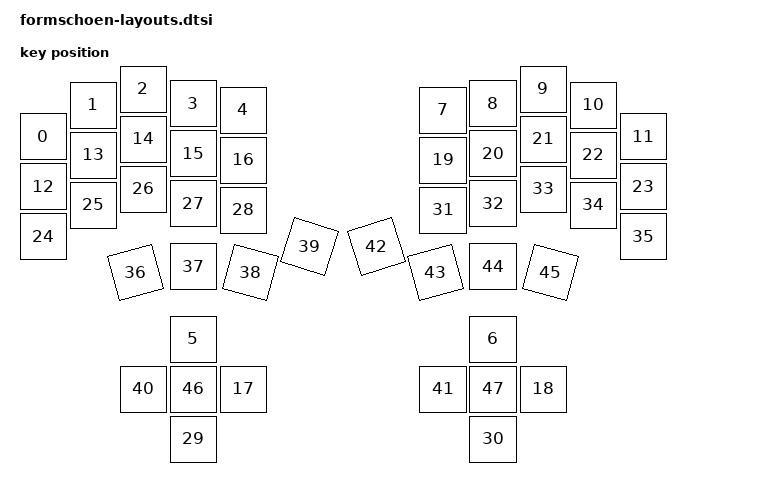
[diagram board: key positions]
#include <physical_layouts.dtsi>

/ {
    formschoen_physical_layout: formschoen_physical_layout {
        compatible = "zmk,physical-layout";
        display-name = "Formschoen";
        kscan = <&kscan0>;
        transform = <&default_transform>;

        // https://zmk-physical-layout-converter.streamlit.app/?layout=H4sIAAAAAAACA5VTQY7CMAy884qo5xLF04bGe-YXiEMPcEJaiQVpUdW_byiljSDswKmOPfXYM3K3MKY4tJfv8-mn-DJdfMbEerdvz4fTlJgwMbMZM8Z0pviNCWddaYrLEKk3ffkIkARQIQNAAnCZepXUoRlAnQBq_NvBZxmU1AMjUDaiOLKkUJkETOmZQ5gVwqwQYoUwKySv1AxY5XVwBBAYg7IZxZEtheokYFLPHGBegHkB4gWYF2Bn0ZCzaIgVYFaAWgFmBagVL5SGlRFQ2TpGxxgtxQ-_HW86-Gv4-v5noSLUZwH6RPERQ23DtIS_NwgfNMDbZ5OvNxZPAyzTCZRNEJjMtIMymZXIrO8buSITDPWxvB2-11e_6P8AMF4OfDMHAAA%3D
        keys  //                     w   h    x    y     rot    rx    ry
            = <&key_physical_attrs 100 100    0   95       0     0     0>
            , <&key_physical_attrs 100 100  100   32       0     0     0>
            , <&key_physical_attrs 100 100  200    0       0     0     0>
            , <&key_physical_attrs 100 100  300   29       0     0     0>
            , <&key_physical_attrs 100 100  400   42       0     0     0>
            , <&key_physical_attrs 100 100  300  500       0     0     0>
            , <&key_physical_attrs 100 100  900  500       0     0     0>
            , <&key_physical_attrs 100 100  800   42       0     0     0>
            , <&key_physical_attrs 100 100  900   29       0     0     0>
            , <&key_physical_attrs 100 100 1000    0       0     0     0>
            , <&key_physical_attrs 100 100 1100   32       0     0     0>
            , <&key_physical_attrs 100 100 1200   95       0     0     0>
            , <&key_physical_attrs 100 100    0  195       0     0     0>
            , <&key_physical_attrs 100 100  100  132       0     0     0>
            , <&key_physical_attrs 100 100  200  100       0     0     0>
            , <&key_physical_attrs 100 100  300  129       0     0     0>
            , <&key_physical_attrs 100 100  400  142       0     0     0>
            , <&key_physical_attrs 100 100  400  600       0     0     0>
            , <&key_physical_attrs 100 100 1000  600       0     0     0>
            , <&key_physical_attrs 100 100  800  142       0     0     0>
            , <&key_physical_attrs 100 100  900  129       0     0     0>
            , <&key_physical_attrs 100 100 1000  100       0     0     0>
            , <&key_physical_attrs 100 100 1100  132       0     0     0>
            , <&key_physical_attrs 100 100 1200  195       0     0     0>
            , <&key_physical_attrs 100 100    0  295       0     0     0>
            , <&key_physical_attrs 100 100  100  232       0     0     0>
            , <&key_physical_attrs 100 100  200  200       0     0     0>
            , <&key_physical_attrs 100 100  300  229       0     0     0>
            , <&key_physical_attrs 100 100  400  242       0     0     0>
            , <&key_physical_attrs 100 100  300  700       0     0     0>
            , <&key_physical_attrs 100 100  900  700       0     0     0>
            , <&key_physical_attrs 100 100  800  242       0     0     0>
            , <&key_physical_attrs 100 100  900  229       0     0     0>
            , <&key_physical_attrs 100 100 1000  200       0     0     0>
            , <&key_physical_attrs 100 100 1100  232       0     0     0>
            , <&key_physical_attrs 100 100 1200  295       0     0     0>
            , <&key_physical_attrs 100 100  210  340 (-1500)   350   500>
            , <&key_physical_attrs 100 100  300  355       0     0     0>
            , <&key_physical_attrs 100 100  390  340    1500   350   500>
            , <&key_physical_attrs 100 100  480  250    1800   350   500>
            , <&key_physical_attrs 100 100  200  600       0     0     0>
            , <&key_physical_attrs 100 100  800  600       0     0     0>
            , <&key_physical_attrs 100 100  720  250 (-1800)   950   500>
            , <&key_physical_attrs 100 100  810  340 (-1500)   950   500>
            , <&key_physical_attrs 100 100  900  355       0     0     0>
            , <&key_physical_attrs 100 100  990  340    1500   950   500>
            , <&key_physical_attrs 100 100  300  600       0     0     0>
            , <&key_physical_attrs 100 100  900  600       0     0     0>
            ;
    };
};
